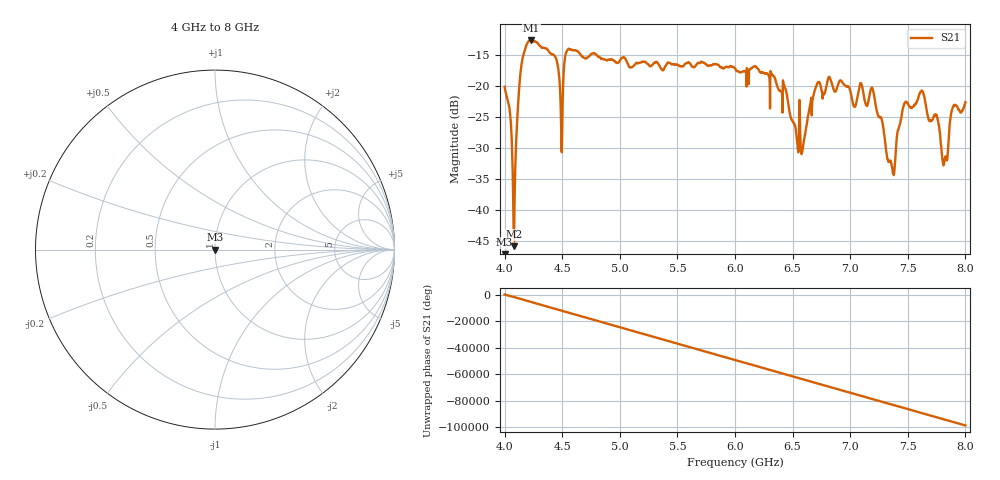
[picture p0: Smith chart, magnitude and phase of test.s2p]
!Agilent Technologies,E8363C,MY49030535,A.09.33.09
!Agilent E8363C: A.09.33.09
!Date: Wednesday, August 19, 2015 10:09:16
!Correction: S11(Off)
!S21(Off)
!S12(Off)
!S22(Off)
!S2P File: Measurements: S11, S21, S12, S22:
# Hz S  dB  R 50
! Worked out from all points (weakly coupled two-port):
!   2001 points, 4 GHz to 8 GHz, reference 50 ohm
!   highest |S21| = -12.69 dB at 4.232 GHz (marker M1); lowest = -45.8 dB at 4.08 GHz (marker M2)
!   lowest |S11| = - dB at 4 GHz (marker M3), VSWR 1.00, Z = 50 + j7.07e-09 ohm
!   |S11| at or under -10 dB: start of sweep to end of sweep
!   S12 and S22 are empty: the file has one direction only
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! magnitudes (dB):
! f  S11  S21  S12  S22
! 4 GHz  -  -20.1  -  -
! 4.042 GHz  -  -23.5  -  -
! 4.08 GHz  -  -45.8  -  -
! 4.144 GHz  -  -16.9  -  -
! 4.232 GHz  -  -12.7  -  -
! 4.44 GHz  -  -15.3  -  -
! 4.49 GHz  -  -25.9  -  -
! 4.542 GHz  -  -14.3  -  -
! 4.668 GHz  -  -15.2  -  -
! 5.334 GHz  -  -16.4  -  -
! 6 GHz  -  -17.2  -  -
! 6.436 GHz  -  -20.4  -  -
! 6.588 GHz  -  -30.1  -  -
! 6.668 GHz  -  -23.3  -  -
! 7.19 GHz  -  -20.3  -  -
! 7.334 GHz  -  -32.1  -  -
! 7.376 GHz  -  -34.3  -  -
! 7.482 GHz  -  -22.6  -  -
! 7.628 GHz  -  -20.9  -  -
! 7.822 GHz  -  -31.9  -  -
! 7.89 GHz  -  -23.5  -  -
! 8 GHz  -  -22.6  -  -
